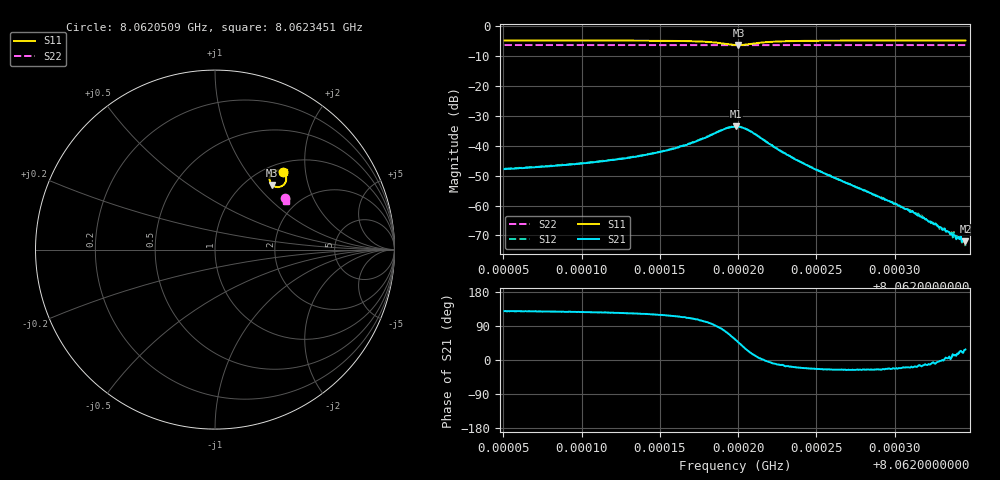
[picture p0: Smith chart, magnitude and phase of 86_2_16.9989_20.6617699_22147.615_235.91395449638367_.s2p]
#  HZ  S  RI  R  50.00
! Rohde & Schwarz Vector Network Analyzer
! Rohde-Schwarz,ZNB20-2Port,1311601062101988,3.16
! Created: UTC 3/20/2024, 10:55:56 PM
! freq[Hz]  re:S11  im:S11  re:S21  im:S21  re:S12  im:S12  re:S22  im:S22
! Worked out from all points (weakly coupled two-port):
!   401 points, 8.0620509 GHz to 8.0623451 GHz, reference 50 ohm
!   highest |S21| = -33.56 dB at 8.0621987 GHz (marker M1); lowest = -72.0 dB at 8.0623451 GHz (marker M2)
!   lowest |S11| = -6.4 dB at 8.0622002 GHz (marker M3), VSWR 2.86, Z = 64.8 + j60.7 ohm
!   |S11| at or under -10 dB: nowhere
!   |S22| runs from -6.4 to -6.3 dB; largest |S21 - S12| = 0.0015
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8.06205086e9  0.3802 0.4319  -0.00256 0.00315  -0.00238 0.00335  0.3875 0.287
8.06210015e9  0.3857 0.4258  -0.003 0.00406  -0.00282 0.00428  0.3893 0.2844
8.06212736e9  0.3898 0.4201  -0.0034 0.00509  -0.00311 0.00535  0.3901 0.2829
8.06214943e9  0.3941 0.4116  -0.0038 0.0068  -0.00346 0.00707  0.3909 0.2815
8.06216562e9  0.3967 0.3995  -0.00396 0.00922  -0.00344 0.00969  0.3914 0.2802
8.06218254e9  0.3911 0.3717  -0.00165 0.015  -0.000725 0.0152  0.3912 0.2784
8.0621921e9  0.3636 0.3501  0.00512 0.0187  0.00634 0.0185  0.3899 0.2774
8.06219798e9  0.331 0.3524  0.012 0.017  0.0134 0.0164  0.3888 0.2778
8.06219872e9  0.3269 0.3546  0.013 0.0165  0.0141 0.0157  0.3887 0.2779
8.06220019e9  0.3193 0.3602  0.0144 0.015  0.0156 0.0141  0.3885 0.2783
8.06220755e9  0.3041 0.399  0.0164 0.00608  0.017 0.00515  0.3888 0.2798
8.06221785e9  0.3224 0.4318  0.0117 -0.000522  0.0117 -0.0013  0.3903 0.2804
8.06222815e9  0.3404 0.4402  0.00762 -0.00171  0.00759 -0.00235  0.3916 0.28
8.06224727e9  0.3584 0.4406  0.00393 -0.00166  0.00386 -0.00192  0.393 0.2787
8.06229656e9  0.375 0.4347  0.0011 -0.000453  0.0011 -0.00051  0.3951 0.2759
8.06231274e9  0.3777 0.433  0.000714 -0.000217  0.000699 -0.000266  0.3957 0.2751
8.06231863e9  0.3785 0.4326  0.000603 -0.000145  0.000599 -0.00018  0.3959 0.2748
8.06232746e9  0.3797 0.4317  0.000459 -4.11e-05  0.000447 -5.78e-05  0.3963 0.2745
8.06233922e9  0.3812 0.4307  0.000268 5.28e-05  0.000305 6.67e-05  0.3965 0.2737
8.06234217e9  0.3815 0.4305  0.00028 0.000125  0.000277 9.4e-05  0.3966 0.2736
8.0623429e9  0.3816 0.4305  0.000235 9.01e-05  0.000227 7.94e-05  0.3967 0.2736
8.06234511e9  0.3818 0.4303  0.000223 0.000117  0.000179 0.000108  0.3966 0.2735
